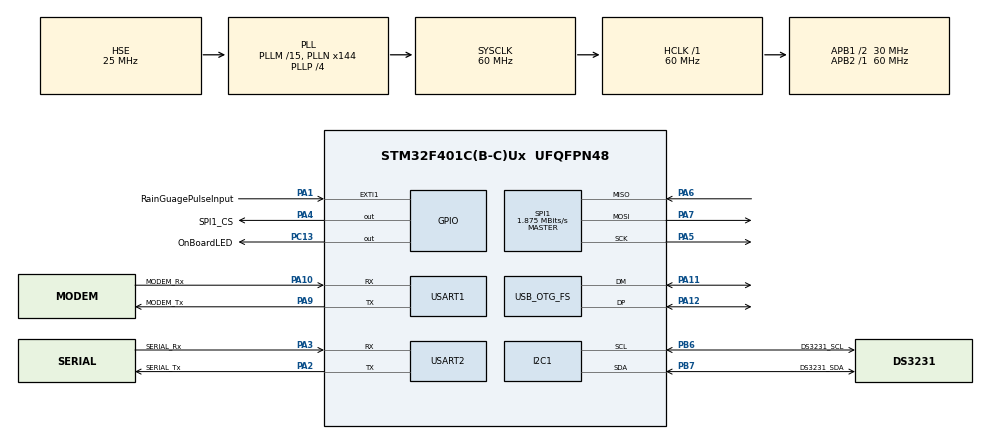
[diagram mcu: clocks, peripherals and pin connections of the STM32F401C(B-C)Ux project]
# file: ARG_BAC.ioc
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FATFS._FS_RPATH=1
FATFS._MAX_SS=4096
FATFS._USE_CHMOD=1
Mcu.Family=STM32F4
Mcu.Name=STM32F401C(B-C)Ux
Mcu.Package=UFQFPN48
NVIC.OTG_FS_IRQn=true\:0\:0\:false\:false\:true\:false\:true\:true
NVIC.PriorityGroup=NVIC_PRIORITYGROUP_4
NVIC.USART1_IRQn=true\:0\:0\:false\:false\:true\:true\:true\:true
NVIC.USART2_IRQn=true\:0\:0\:false\:false\:true\:true\:true\:true
PA1.GPIO_Label=RainGuagePulseInput
PA1.GPIO_ModeDefaultEXTI=GPIO_MODE_IT_RISING
PA1.Signal=GPXTI1
PA10.GPIO_Label=MODEM_Rx
PA10.Mode=Asynchronous
PA10.Signal=USART1_RX
PA11.Mode=Host_Only
PA11.Signal=USB_OTG_FS_DM
PA12.Mode=Host_Only
PA12.Signal=USB_OTG_FS_DP
PA2.GPIO_Label=SERIAL_Tx
PA2.Mode=Asynchronous
PA2.Signal=USART2_TX
PA3.GPIO_Label=SERIAL_Rx
PA3.Mode=Asynchronous
PA3.Signal=USART2_RX
PA4.GPIO_Label=SPI1_CS
PA4.GPIO_Speed=GPIO_SPEED_FREQ_HIGH
PA4.PinState=GPIO_PIN_SET
PA4.Signal=GPIO_Output
PA5.Mode=Full_Duplex_Master
PA5.Signal=SPI1_SCK
PA6.Mode=Full_Duplex_Master
PA6.Signal=SPI1_MISO
PA7.Mode=Full_Duplex_Master
PA7.Signal=SPI1_MOSI
PA9.GPIO_Label=MODEM_Tx
PA9.Mode=Asynchronous
PA9.Signal=USART1_TX
PB6.GPIO_Label=DS3231_SCL
PB6.Mode=I2C
PB6.Signal=I2C1_SCL
PB7.GPIO_Label=DS3231_SDA
PB7.Mode=I2C
PB7.Signal=I2C1_SDA
PC13-ANTI_TAMP.GPIO_Label=OnBoardLED
PC13-ANTI_TAMP.Signal=GPIO_Output
PH0\ -\ OSC_IN.Mode=HSE-External-Oscillator
PH0\ -\ OSC_IN.Signal=RCC_OSC_IN
PH1\ -\ OSC_OUT.Mode=HSE-External-Oscillator
PH1\ -\ OSC_OUT.Signal=RCC_OSC_OUT
ProjectManager.HeapSize=0x200
ProjectManager.StackSize=0x400
ProjectManager.TargetToolchain=STM32CubeIDE
RCC.48MHZClocksFreq_Value=48000000
RCC.AHBFreq_Value=60000000
RCC.APB1CLKDivider=RCC_HCLK_DIV2
RCC.APB1Freq_Value=30000000
RCC.APB1TimFreq_Value=60000000
RCC.APB2Freq_Value=60000000
RCC.APB2TimFreq_Value=60000000
RCC.CortexFreq_Value=60000000
RCC.HCLKFreq_Value=60000000
RCC.HSE_VALUE=25000000
RCC.HSI_VALUE=16000000
RCC.LSE_VALUE=32768
RCC.PLLM=15
RCC.PLLN=144
RCC.PLLP=RCC_PLLP_DIV4
RCC.PLLQ=5
RCC.SYSCLKFreq_VALUE=60000000
RCC.SYSCLKSource=RCC_SYSCLKSOURCE_PLLCLK
RCC.VCOOutputFreq_Value=240000000
SPI1.BaudRatePrescaler=SPI_BAUDRATEPRESCALER_32
SPI1.CalculateBaudRate=1.875 MBits/s
SPI1.Direction=SPI_DIRECTION_2LINES
SPI1.Mode=SPI_MODE_MASTER
SPI1.VirtualType=VM_MASTER
USART1.VirtualMode=VM_ASYNC
USART2.VirtualMode=VM_ASYNC
USB_HOST.USBH_HandleTypeDef=hUsbHostFS
USB_HOST.VirtualModeFS=Msc
USB_OTG_FS.VirtualMode=Host_Only
USB_OTG_FS.phy_itface=HCD_PHY_EMBEDDED
VP_FATFS_VS_USB.Mode=USB
VP_USB_HOST_VS_USB_HOST_MSC_FS.Mode=MSC_FS
board=custom

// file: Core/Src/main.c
/* USER CODE BEGIN Header */
/**
  ******************************************************************************
  * @file           : main.c
  * @brief          : Main program body
  ******************************************************************************
  * @attention
  *
  * Copyright (c) 2024 STMicroelectronics.
  * All rights reserved.
  *
  * This software is licensed under terms that can be found in the LICENSE file
  * in the root directory of this software component.
  * If no LICENSE file comes with this software, it is provided AS-IS.
  *
  ******************************************************************************
  */
/* USER CODE END Header */
#include "main.h"
#include "fatfs.h"
#include "usb_host.h"

/* USER CODE BEGIN Includes */
#include "DS3231.h"
/* USER CODE END Includes */

I2C_HandleTypeDef hi2c1;

SPI_HandleTypeDef hspi1;

UART_HandleTypeDef huart1;
UART_HandleTypeDef huart2;

/* USER CODE BEGIN PV */
//extern uint8_t retUSBH;    /* Return value for USBH */
//extern char USBHPath[4];   /* USBH logical drive path */
//extern FATFS USBHFatFS;    /* File system object for USBH logical drive */
//extern FIL USBHFile;       /* File object for USBH */
FRESULT RES;
uint32_t BytesWritten = 0;
int Dir_Flag;
char hold[100] = {0};

/* USER CODE END PV */

void SystemClock_Config(void);
static void MX_GPIO_Init(void);
static void MX_USART1_UART_Init(void);
static void MX_USART2_UART_Init(void);
static void MX_SPI1_Init(void);
static void MX_I2C1_Init(void);
void MX_USB_HOST_Process(void);

/* USER CODE BEGIN 0 */
uint8_t aRxBuffer;
uint8_t SerialTxReady = RESET;
uint8_t ModemTxReady = SET;
uint8_t g_buff[100] = {0};
uint8_t wr_ptr = 0;
uint8_t usb_exp_disk = 1;

#ifdef __GNUC__
/* With GCC/RAISONANCE, small printf (option LD Linker->Libraries->Small printf
  set to 'Yes') calls __io_putchar() */
#define PUTCHAR_PROTOTYPE int __io_putchar(int ch)
#else
#define PUTCHAR_PROTOTYPE int fputc(int ch, FILE *f)
#endif /* __GNUC__ */

#define ONBOARD_LED_OFF()  HAL_GPIO_WritePin(OnBoardLED_GPIO_Port, OnBoardLED_Pin, GPIO_PIN_RESET)
#define ONBOARD_LED_ON() HAL_GPIO_WritePin(OnBoardLED_GPIO_Port, OnBoardLED_Pin, GPIO_PIN_SET)

/* USER CODE END 0 */

int main(void)
{

  /* MCU Configuration--------------------------------------------------------*/

  /* Reset of all peripherals, Initializes the Flash interface and the Systick. */
  HAL_Init();

  /* Configure the system clock */
  SystemClock_Config();

  /* Initialize all configured peripherals */
  MX_GPIO_Init();
  MX_USART1_UART_Init();
  MX_USART2_UART_Init();
  MX_SPI1_Init();
  MX_USB_HOST_Init();
  MX_FATFS_Init();
  MX_I2C1_Init();
  /* USER CODE BEGIN 2 */

  if (f_mount(&USBHFatFS, (TCHAR const*) USBHPath, 0) != FR_OK)
  {
    printf("\n\n ERROR : USBHFatFS Initialization");
  }

  HAL_UART_Receive_IT(&huart1, (uint8_t *) &aRxBuffer, 1);
  HAL_UART_Receive_IT(&huart2, (uint8_t *) &aRxBuffer, 1);

#if SPI_FLASH
  // Test data to write to flash
      uint8_t write_data[16] = "Hello, W25QXX!";
      uint8_t read_data[16] = {0};
      ONBOARD_LED_OFF();

      // Write data to address 0x000000
      printf("\n SPI FLASH DATA WRITE STARTED");
      W25QXX_WriteData(0x000000, write_data, sizeof(write_data));
      printf("\n SPI FLASH DATA WRITE COMPLETED");

      // Read data back from address 0x000000
      printf("\n SPI FLASH DATA READ STARTED");
      W25QXX_ReadData(0x000000, read_data, sizeof(read_data));
      printf("\n SPI FLASH DATA READ COMPLETED");

//      // Compare read data with write data
//      if (memcmp(write_data, read_data, sizeof(write_data)) == 0) {
//          // Success! Data matches
//          ONBOARD_LED_ON();
//          printf("\n SPI FLASH READ DATA SUCCESS: \t");
//          for(uint8_t i = 0; i < 16;i++)
//          {
//              printf("%c", read_data[i]);
//          }
////          HAL_GPIO_WritePin(OnBoardLED_GPIO_Port, OnBoardLED_Pin, GPIO_PIN_SET); // Turn on an LED or indicate success
//      } else {
//          // Failure! Data mismatch
//          printf("\n SPI FLASH READ DATA FAILED");
//          ONBOARD_LED_OFF();
////          HAL_GPIO_WritePin(OnBoardLED_GPIO_Port, OnBoardLED_Pin, GPIO_PIN_RESET); // Turn on a different LED or indicate failure
//      }
#endif

#if USB_DEVICE
      FATFS USBFatFS;     // File system object for USB
      FIL MyFile;
      char buffer[100];   // Buffer to hold read data
      FRESULT res;    // FATFS function common result variable
      UINT bytesWritten, bytesRead;
#endif
      DS3231_Init();

      DS3231_SetTime(23, 44, 0);  // Set time to 14:30:00

  /* USER CODE END 2 */

  /* Infinite loop */
  /* USER CODE BEGIN WHILE */
      uint8_t hours, minutes, seconds;
 while (1)
  {
#if SPI_FLASH
//      printf("\n SPI FLASH READ DATA SUCCESS: \t");
//      for(uint8_t i = 0; i < 16;i++)
//      {
//          printf("%c", read_data[i]);
//      }
#endif

      DS3231_ReadTime(&hours, &minutes, &seconds);

      printf("Time: %02d:%02d:%02d\n", hours, minutes, seconds);
      HAL_Delay(1000);

    /* USER CODE END WHILE */
    MX_USB_HOST_Process();

    /* USER CODE BEGIN 3 */
#if USB_DEVICE

    if ((MX_USB_HOST_App_state() == APPLICATION_READY) && usb_exp_disk)
    {
      usb_exp_disk = 0;
      printf("\n USB DETECTED");
//      printf("\n usb  =  %d", Explore_Disk(USBHPath, 1));

      res = f_mount(&USBFatFS, "", 1);
          if (res != FR_OK) {
              printf("Failed to mount USB drive. Error: %d\n", res);
          }
          printf("USB Drive mounted successfully.\n");

          // 4. Create and Write to a File on USB
              res = f_open(&MyFile, "test.txt", FA_CREATE_ALWAYS | FA_WRITE);
              if (res == FR_OK) {
                  const char *data = "Hello, USB World!";
                  res = f_write(&MyFile, data, strlen(data), &bytesWritten);
                  if (res == FR_OK && bytesWritten == strlen(data)) {
                      printf("Data written successfully to USB.\n");
                  } else {
                      printf("Failed to write data to USB. Error: %d\n", res);
                  }
                  f_close(&MyFile);  // Close file after writing
              } else {
                  printf("Failed to open file for writing. Error: %d\n", res);
              }

              // 5. Read the Data Back from the File
              res = f_open(&MyFile, "test.txt", FA_READ);
              if (res == FR_OK) {
                  res = f_read(&MyFile, buffer, sizeof(buffer) - 1, &bytesRead);
                  if (res == FR_OK) {
                      buffer[bytesRead] = '\0';  // Null-terminate the read data
                      printf("Data read from USB: %s\n", buffer);
                  } else {
                      printf("Failed to read data from USB. Error: %d\n", res);
                  }
                  f_close(&MyFile);  // Close file after reading
              } else {
                  printf("Failed to open file for reading. Error: %d\n", res);
              }

              // 6. Unmount the USB Drive after Operations
              f_mount(NULL, "", 1);
              printf("USB Drive unmounted.\n");
   }
#endif

#if MODEM
    // Send AT command
//	      char *command = "AT\r\n";

//	      printf("AT\r\n");
//	      HAL_UART_Transmit(&huart1, (uint8_t*)command, strlen(command), HAL_MAX_DELAY);

//	      HAL_Delay(2000);
	      // Wait for and print response
//	      uint8_t response[100];
//	      if (HAL_UART_Receive(&huart1, response, sizeof(response), 1000) == HAL_OK) {
//	          // Process or print the response here
//	    	  printf("\n Response Rxd %s",(char *)response);
//	      }
//
//	      HAL_Delay(1000); // Wait before sending the next command
////	  if(HAL_GPIO_ReadPin(OnBoardKey_GPIO_Port,OnBoardKey_Pin) == GPIO_PIN_SET)
////	  {
////	  if(ModemTxReady == SET)
//	  {
//		  memset(g_buff,'\0',sizeof(g_buff));
//		  wr_ptr = 0;
////
//		  if (HAL_UART_Transmit(&huart2, (uint8_t *) "AT+CGMM\r\n",strlen("AT+CGMM\r\n"),HAL_MAX_DELAY) != HAL_OK)
//		  {
//			  printf("\n Txn Failed");
//		  }
//		  HAL_Delay(5000);
////
//		  if (strstr((char *) g_buff, "OK"))
//		  {
//			  printf("\n Response OK: %s",(char *)g_buff);
//		  }
//	  }
//	  HAL_Delay(5000);
//	  ModemTxReady = RESET;
//	  }
			//		  HAL_GPIO_TogglePin(OnBoardLED_GPIO_Port, OnBoardLED_Pin);
#endif
  }
  /* USER CODE END 3 */
}

void SystemClock_Config(void)
{
  RCC_OscInitTypeDef RCC_OscInitStruct = {0};
  RCC_ClkInitTypeDef RCC_ClkInitStruct = {0};

  /** Configure the main internal regulator output voltage
  */
  __HAL_RCC_PWR_CLK_ENABLE();
  __HAL_PWR_VOLTAGESCALING_CONFIG(PWR_REGULATOR_VOLTAGE_SCALE2);

  /** Initializes the RCC Oscillators according to the specified parameters
  * in the RCC_OscInitTypeDef structure.
  */
  RCC_OscInitStruct.OscillatorType = RCC_OSCILLATORTYPE_HSE;
  RCC_OscInitStruct.HSEState = RCC_HSE_ON;
  RCC_OscInitStruct.PLL.PLLState = RCC_PLL_ON;
  RCC_OscInitStruct.PLL.PLLSource = RCC_PLLSOURCE_HSE;
  RCC_OscInitStruct.PLL.PLLM = 15;
  RCC_OscInitStruct.PLL.PLLN = 144;
  RCC_OscInitStruct.PLL.PLLP = RCC_PLLP_DIV4;
  RCC_OscInitStruct.PLL.PLLQ = 5;
  if (HAL_RCC_OscConfig(&RCC_OscInitStruct) != HAL_OK)
  {
    Error_Handler();
  }

  /** Initializes the CPU, AHB and APB buses clocks
  */
  RCC_ClkInitStruct.ClockType = RCC_CLOCKTYPE_HCLK|RCC_CLOCKTYPE_SYSCLK
                              |RCC_CLOCKTYPE_PCLK1|RCC_CLOCKTYPE_PCLK2;
  RCC_ClkInitStruct.SYSCLKSource = RCC_SYSCLKSOURCE_PLLCLK;
  RCC_ClkInitStruct.AHBCLKDivider = RCC_SYSCLK_DIV1;
  RCC_ClkInitStruct.APB1CLKDivider = RCC_HCLK_DIV2;
  RCC_ClkInitStruct.APB2CLKDivider = RCC_HCLK_DIV1;

  if (HAL_RCC_ClockConfig(&RCC_ClkInitStruct, FLASH_LATENCY_1) != HAL_OK)
  {
    Error_Handler();
  }
}

static void MX_I2C1_Init(void)
{

  hi2c1.Instance = I2C1;
  hi2c1.Init.ClockSpeed = 100000;
  hi2c1.Init.DutyCycle = I2C_DUTYCYCLE_2;
  hi2c1.Init.OwnAddress1 = 0;
  hi2c1.Init.AddressingMode = I2C_ADDRESSINGMODE_7BIT;
  hi2c1.Init.DualAddressMode = I2C_DUALADDRESS_DISABLE;
  hi2c1.Init.OwnAddress2 = 0;
  hi2c1.Init.GeneralCallMode = I2C_GENERALCALL_DISABLE;
  hi2c1.Init.NoStretchMode = I2C_NOSTRETCH_DISABLE;
  if (HAL_I2C_Init(&hi2c1) != HAL_OK)
  {
    Error_Handler();
  }

}

static void MX_SPI1_Init(void)
{

  /* SPI1 parameter configuration*/
  hspi1.Instance = SPI1;
  hspi1.Init.Mode = SPI_MODE_MASTER;
  hspi1.Init.Direction = SPI_DIRECTION_2LINES;
  hspi1.Init.DataSize = SPI_DATASIZE_8BIT;
  hspi1.Init.CLKPolarity = SPI_POLARITY_LOW;
  hspi1.Init.CLKPhase = SPI_PHASE_1EDGE;
  hspi1.Init.NSS = SPI_NSS_SOFT;
  hspi1.Init.BaudRatePrescaler = SPI_BAUDRATEPRESCALER_32;
  hspi1.Init.FirstBit = SPI_FIRSTBIT_MSB;
  hspi1.Init.TIMode = SPI_TIMODE_DISABLE;
  hspi1.Init.CRCCalculation = SPI_CRCCALCULATION_DISABLE;
  hspi1.Init.CRCPolynomial = 10;
  if (HAL_SPI_Init(&hspi1) != HAL_OK)
  {
    Error_Handler();
  }

}

static void MX_USART1_UART_Init(void)
{

  huart1.Instance = USART1;
  huart1.Init.BaudRate = 115200;
  huart1.Init.WordLength = UART_WORDLENGTH_8B;
  huart1.Init.StopBits = UART_STOPBITS_1;
  huart1.Init.Parity = UART_PARITY_NONE;
  huart1.Init.Mode = UART_MODE_TX_RX;
  huart1.Init.HwFlowCtl = UART_HWCONTROL_NONE;
  huart1.Init.OverSampling = UART_OVERSAMPLING_16;
  if (HAL_UART_Init(&huart1) != HAL_OK)
  {
    Error_Handler();
  }

}

static void MX_USART2_UART_Init(void)
{

  huart2.Instance = USART2;
  huart2.Init.BaudRate = 115200;
  huart2.Init.WordLength = UART_WORDLENGTH_8B;
  huart2.Init.StopBits = UART_STOPBITS_1;
  huart2.Init.Parity = UART_PARITY_NONE;
  huart2.Init.Mode = UART_MODE_TX_RX;
  huart2.Init.HwFlowCtl = UART_HWCONTROL_NONE;
  huart2.Init.OverSampling = UART_OVERSAMPLING_16;
  if (HAL_UART_Init(&huart2) != HAL_OK)
  {
    Error_Handler();
  }

}

static void MX_GPIO_Init(void)
{
  GPIO_InitTypeDef GPIO_InitStruct = {0};

  /* GPIO Ports Clock Enable */
  __HAL_RCC_GPIOC_CLK_ENABLE();
  __HAL_RCC_GPIOH_CLK_ENABLE();
  __HAL_RCC_GPIOA_CLK_ENABLE();
  __HAL_RCC_GPIOB_CLK_ENABLE();

  /*Configure GPIO pin Output Level */
  HAL_GPIO_WritePin(OnBoardLED_GPIO_Port, OnBoardLED_Pin, GPIO_PIN_RESET);

  /*Configure GPIO pin Output Level */
  HAL_GPIO_WritePin(SPI1_CS_GPIO_Port, SPI1_CS_Pin, GPIO_PIN_SET);

  /*Configure GPIO pin : OnBoardLED_Pin */
  GPIO_InitStruct.Pin = OnBoardLED_Pin;
  GPIO_InitStruct.Mode = GPIO_MODE_OUTPUT_PP;
  GPIO_InitStruct.Pull = GPIO_NOPULL;
  GPIO_InitStruct.Speed = GPIO_SPEED_FREQ_LOW;
  HAL_GPIO_Init(OnBoardLED_GPIO_Port, &GPIO_InitStruct);

  /*Configure GPIO pin : RainGuagePulseInput_Pin */
  GPIO_InitStruct.Pin = RainGuagePulseInput_Pin;
  GPIO_InitStruct.Mode = GPIO_MODE_IT_RISING;
  GPIO_InitStruct.Pull = GPIO_NOPULL;
  HAL_GPIO_Init(RainGuagePulseInput_GPIO_Port, &GPIO_InitStruct);

  /*Configure GPIO pin : SPI1_CS_Pin */
  GPIO_InitStruct.Pin = SPI1_CS_Pin;
  GPIO_InitStruct.Mode = GPIO_MODE_OUTPUT_PP;
  GPIO_InitStruct.Pull = GPIO_NOPULL;
  GPIO_InitStruct.Speed = GPIO_SPEED_FREQ_HIGH;
  HAL_GPIO_Init(SPI1_CS_GPIO_Port, &GPIO_InitStruct);

/* USER CODE BEGIN MX_GPIO_Init_2 */
  HAL_NVIC_SetPriority(EXTI1_IRQn, 0, 0);
  HAL_NVIC_EnableIRQ(EXTI1_IRQn);
/* USER CODE END MX_GPIO_Init_2 */
}

/* USER CODE BEGIN 4 */

/**
   @brief  Rx reception completed callback
   @param  UartHandle: UART handle.
   @note   This callback executes once defined bytes of reception completed
   @retval None
*/
void HAL_UART_RxCpltCallback(UART_HandleTypeDef *UartHandle)
{
//	  if (UartHandle->Instance == USART1)
//	  {
////		    HAL_UART_Receive_IT(&huart1, (uint8_t *) &aRxBuffer, 1);
//	  }
	  if (UartHandle->Instance == USART2)
	  {
		    HAL_UART_Receive_IT(&huart2, (uint8_t *) &aRxBuffer, 1);
		    g_buff[wr_ptr++] = aRxBuffer;
//		    printf("%c", aRxBuffer);
	  }
}

void HAL_UART_TxCpltCallback(UART_HandleTypeDef *UartHandle)
{
	  if (UartHandle->Instance == USART1)
	  {
	    /* Set transmission flag: transfer complete */
		  SerialTxReady = SET;
	  }
	  if (UartHandle->Instance == USART2)
	  {
	    /* Set transmission flag: transfer complete */
		  ModemTxReady = SET;
	  }
}

/**
   @brief EXTI line detection callbacks
   @param GPIO_Pin: Specifies the pins connected EXTI line
   @retval None
*/
void HAL_GPIO_EXTI_Callback(uint16_t GPIO_Pin)
{

  if (GPIO_Pin == RainGuagePulseInput_Pin)
  {
    if (HAL_GPIO_ReadPin(RainGuagePulseInput_GPIO_Port, RainGuagePulseInput_Pin)
         == GPIO_PIN_SET)
    {
    	HAL_GPIO_TogglePin(OnBoardLED_GPIO_Port, OnBoardLED_Pin);
    }
  }
}

/**
   @brief  Retargets the C library APP_DEBUG_STR function to the USART.
   @param  None
   @retval None
*/
PUTCHAR_PROTOTYPE
{
  /* Place your implementation of fputc here */
  /* e.g. write a character to the EVAL_COM1 and Loop until the end of transmission */
  HAL_UART_Transmit(&huart1, (uint8_t *) &ch, 1, 0XFFFF);
  return ch;
}

/* USER CODE END 4 */

void Error_Handler(void)
{
  __disable_irq();
  while (1)
  {
  }
}
